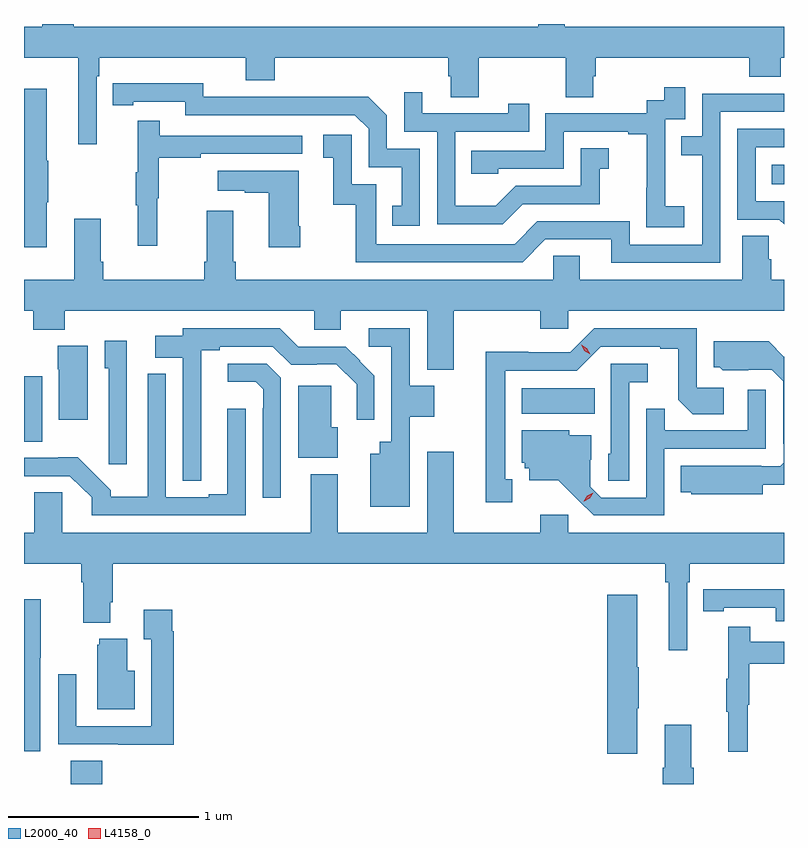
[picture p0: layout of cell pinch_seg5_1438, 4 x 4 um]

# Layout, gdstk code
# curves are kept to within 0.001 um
import gdstk
lib = gdstk.Library(unit=1e-6, precision=1e-09)
def R(c, l, rs):  # rectangles x0, y0, x1, y1
    for r in rs: c.add(gdstk.rectangle(r[:2], r[2:], *l))
def P(c, l, *ps):  # polygons
    for p in ps: c.add(gdstk.Polygon(p, *l))
L2000_40 = (2000, 40)
L4158_0 = (4158, 0)

pinch_seg5_1438 = lib.new_cell('pinch_seg5_1438')
R(pinch_seg5_1438, L2000_40, [(134.999,880.91,135.164,881.033), (134.752,882.712,134.848,883.057), (137.372,882.86,137.756,882.994), (138.688,884.066,138.752,884.17)])
P(pinch_seg5_1438, L2000_40, [(135.014,884.91),(134.849,884.91),(134.849,884.896),(134.752,884.896),(134.752,884.732),(135.038,884.732),(135.038,884.277),(135.135,884.277),(135.135,884.636),(135.149,884.636),(135.149,884.732),(135.92,884.732),(135.92,884.615),(136.073,884.615),(136.073,884.732),(136.985,884.732),(136.985,884.634),(136.997,884.634),(136.997,884.524),(137.145,884.524),(137.145,884.732),(137.602,884.732),(137.602,884.524),(137.749,884.524),(137.749,884.634),(137.762,884.634),(137.762,884.732),(138.569,884.732),(138.569,884.633),(138.734,884.633),(138.734,884.732),(138.752,884.732),(138.752,884.896),(137.598,884.896),(137.598,884.91),(137.459,884.91),(137.459,884.896),(135.014,884.896)],
  [(136.836,884.253),(136.662,884.253),(136.662,884.43),(136.564,884.528),(136.156,884.528),(136.156,884.526),(135.696,884.526),(135.696,884.599),(135.22,884.598),(135.22,884.482),(135.328,884.482),(135.328,884.502),(135.6,884.502),(135.6,884.43),(136.494,884.43),(136.566,884.358),(136.566,884.157),(136.739,884.157),(136.739,883.953),(136.69,883.953),(136.69,883.848),(136.836,883.848)],
  [(138.226,883.951),(138.128,883.951),(138.128,884.18),(138.126,884.18),(138.126,884.409),(138.231,884.409),(138.231,884.578),(138.123,884.578),(138.123,884.508),(138.03,884.508),(138.03,884.439),(137.496,884.439),(137.496,884.244),(137.107,884.244),(137.107,884.121),(137.247,884.121),(137.247,884.148),(137.592,884.148),(137.592,884.343),(137.933,884.343),(137.933,884.331),(138.029,884.331),(138.029,884.047),(138.028,884.047),(138.028,883.841),(138.226,883.841)],
  [(134.872,883.972),(134.88,883.972),(134.88,884.189),(134.872,884.189),(134.872,884.569),(134.752,884.569),(134.752,883.734),(134.872,883.734)],
  [(137.377,883.962),(137.781,883.962),(137.781,884.147),(137.83,884.147),(137.83,884.257),(137.682,884.257),(137.682,884.058),(137.34,884.058),(137.236,883.954),(137.022,883.954),(137.022,884.343),(137.411,884.343),(137.411,884.491),(137.3,884.491),(137.3,884.439),(136.849,884.439),(136.849,884.551),(136.752,884.551),(136.752,884.343),(136.926,884.343),(136.926,883.857),(137.272,883.857)],
  [(138.417,884.448),(138.752,884.448),(138.752,884.544),(138.321,884.544),(138.321,884.319),(138.211,884.319),(138.211,884.218),(138.321,884.218),(138.321,883.749),(137.94,883.749),(137.94,883.872),(137.454,883.872),(137.334,883.752),(136.605,883.752),(136.605,884.067),(136.476,884.067),(136.476,884.326),(136.326,884.326),(136.326,884.205),(136.379,884.205),(136.379,883.959),(136.497,883.959),(136.497,883.656),(137.376,883.656),(137.496,883.776),(137.843,883.776),(137.843,883.653),(138.417,883.653)],
  [(135.452,883.992),(135.46,883.992),(135.46,884.206),(135.683,884.206),(135.683,884.226),(136.216,884.226),(136.216,884.322),(135.467,884.322),(135.467,884.401),(135.35,884.401),(135.35,884.129),(135.339,884.129),(135.339,883.955),(135.35,883.955),(135.35,883.743),(135.452,883.743)],
  [(138.752,883.977),(138.603,883.977),(138.603,884.262),(138.752,884.262),(138.752,884.358),(138.507,884.358),(138.507,883.881),(138.726,883.881),(138.752,883.855)],
  [(136.206,883.846),(136.198,883.846),(136.198,884.137),(135.771,884.137),(135.771,884.033),(135.914,884.033),(135.914,884.023),(136.04,884.023),(136.04,883.734),(136.206,883.734)],
  [(138.752,883.564),(138.686,883.564),(138.686,883.673),(138.672,883.673),(138.672,883.796),(138.533,883.796),(138.533,883.564),(137.677,883.564),(137.677,883.691),(137.538,883.691),(137.538,883.564),(135.866,883.564),(135.866,883.66),(135.853,883.66),(135.853,883.927),(135.713,883.927),(135.713,883.66),(135.701,883.66),(135.701,883.564),(135.17,883.564),(135.17,883.66),(135.157,883.66),(135.157,883.885),(135.017,883.885),(135.017,883.564),(134.752,883.564),(134.752,883.4),(134.801,883.4),(134.801,883.301),(134.966,883.301),(134.966,883.4),(136.28,883.4),(136.28,883.301),(136.42,883.301),(136.42,883.4),(136.874,883.4),(136.874,883.091),(137.014,883.091),(137.014,883.4),(137.47,883.4),(137.47,883.307),(137.616,883.307),(137.616,883.4),(138.752,883.4)],
  [(136.783,882.842),(136.912,882.842),(136.912,883.006),(136.782,883.006),(136.782,883.308),(136.566,883.308),(136.566,883.212),(136.686,883.212),(136.686,882.712),(136.625,882.712),(136.625,882.649),(136.574,882.649),(136.574,882.368),(136.783,882.368)],
  [(137.323,882.513),(137.284,882.513),(137.284,883.086),(137.661,883.086),(137.787,883.212),(138.101,883.212),(138.101,883.2),(138.195,883.2),(138.195,882.932),(138.271,882.856),(138.436,882.856),(138.436,882.996),(138.294,882.996),(138.294,883.308),(137.754,883.308),(137.628,883.182),(137.406,883.182),(137.406,883.184),(137.181,883.184),(137.181,882.745),(137.183,882.745),(137.183,882.393),(137.323,882.393)],
  [(135.684,882.613),(135.685,883.192),(135.781,883.192),(135.781,883.212),(136.062,883.212),(136.158,883.116),(136.294,883.116),(136.294,883.118),(136.396,883.118),(136.502,883.013),(136.502,882.828),(136.596,882.828),(136.596,883.06),(136.446,883.212),(136.195,883.212),(136.099,883.308),(135.588,883.308),(135.588,883.27),(135.444,883.27),(135.444,883.154),(135.588,883.154),(135.588,882.505),(135.684,882.505)],
  [(135.294,883.243),(135.176,883.243),(135.176,883.098),(135.198,883.098),(135.198,882.594),(135.294,882.594)],
  [(138.64,882.485),(138.752,882.485),(138.752,883.158),(138.671,883.24),(138.383,883.24),(138.383,883.104),(138.414,883.104),(138.43,883.088),(138.687,883.089),(138.747,883.029),(138.747,882.7),(138.75,882.7),(138.75,882.6),(138.732,882.582),(138.632,882.582),(138.632,882.586),(138.208,882.586),(138.208,882.446),(138.264,882.446),(138.264,882.434),(138.64,882.434)],
  [(135.088,883.216),(134.93,883.216),(134.93,883.092),(134.936,883.092),(134.936,882.828),(135.088,882.828)],
  [(137.937,883.025),(138.034,883.025),(138.034,883.122),(137.841,883.122),(137.841,882.648),(137.826,882.648),(137.826,882.505),(137.937,882.505)],
  [(136.104,883.047),(136.029,883.122),(135.825,883.122),(135.825,883.028),(135.971,883.028),(136.011,882.987),(136.011,882.887),(136.008,882.887),(136.008,882.417),(136.104,882.417)],
  [(135.918,882.886),(135.821,882.886),(135.821,882.435),(135.725,882.435),(135.725,882.42),(135.498,882.42),(135.498,883.069),(135.402,883.069),(135.402,882.421),(135.208,882.421),(135.208,882.455),(135.034,882.629),(134.933,882.629),(134.933,882.627),(134.752,882.627),(134.752,882.531),(134.994,882.531),(135.108,882.418),(135.108,882.324),(135.918,882.324)],
  [(136.402,882.787),(136.369,882.787),(136.369,883.005),(136.196,883.005),(136.196,882.626),(136.402,882.626)],
  [(138.123,882.675),(138.657,882.675),(138.657,882.985),(138.561,882.985),(138.561,882.771),(138.125,882.771),(138.125,882.884),(138.027,882.884),(138.027,882.417),(137.79,882.417),(137.733,882.474),(137.733,882.616),(137.737,882.616),(137.737,882.745),(137.622,882.745),(137.622,882.772),(137.372,882.772),(137.372,882.6),(137.388,882.6),(137.388,882.573),(137.411,882.573),(137.411,882.509),(137.563,882.509),(137.75,882.324),(138.123,882.324)],
  [(138.243,881.972),(138.257,881.972),(138.257,882.068),(138.752,882.068),(138.752,882.232),(137.616,882.232),(137.616,882.328),(137.47,882.328),(137.47,882.232),(137.014,882.232),(137.014,882.658),(136.874,882.658),(136.874,882.232),(136.402,882.232),(136.402,882.541),(136.262,882.541),(136.262,882.232),(134.952,882.232),(134.952,882.446),(134.806,882.446),(134.806,882.232),(134.752,882.232),(134.752,882.068),(135.053,882.068),(135.053,881.972),(135.065,881.972),(135.065,881.759),(135.205,881.759),(135.205,881.866),(135.218,881.866),(135.218,882.068),(138.127,882.068),(138.127,881.972),(138.146,881.972),(138.146,881.613),(138.243,881.613)],
  [(138.752,881.935),(138.436,881.935),(138.436,881.934),(138.328,881.934),(138.328,881.818),(138.436,881.818),(138.436,881.838),(138.708,881.838),(138.708,881.766),(138.752,881.766)],
  [(137.98,881.308),(137.988,881.308),(137.988,881.525),(137.98,881.525),(137.98,881.905),(137.822,881.905),(137.822,881.07),(137.98,881.07)],
  [(134.838,881.575),(134.841,881.575),(134.841,881.882),(134.752,881.882),(134.752,881.082),(134.838,881.082)],
  [(135.539,881.714),(135.532,881.714),(135.532,881.827),(135.383,881.827),(135.383,881.671),(135.423,881.671),(135.423,881.214),(135.027,881.214),(135.027,881.488),(134.931,881.488),(134.931,881.118),(135.247,881.118),(135.247,881.117),(135.539,881.117)],
  [(138.56,881.328),(138.568,881.328),(138.568,881.542),(138.752,881.542),(138.752,881.658),(138.575,881.658),(138.575,881.737),(138.458,881.737),(138.458,881.465),(138.447,881.465),(138.447,881.291),(138.458,881.291),(138.458,881.079),(138.56,881.079)],
  [(135.334,881.506),(135.295,881.506),(135.295,881.674),(135.149,881.674),(135.149,881.643),(135.137,881.643),(135.137,881.303),(135.334,881.303)],
  [(138.278,880.996),(138.265,880.996),(138.265,881.221),(138.125,881.221),(138.125,880.996),(138.113,880.996),(138.113,880.91),(138.278,880.91)])
P(pinch_seg5_1438, L4158_0, [(137.732,883.171),(137.701,883.19),(137.684,883.223),(137.684,883.223),(137.684,883.223),(137.715,883.204),(137.733,883.171),(137.733,883.171)],
  [(137.699,882.398),(137.699,882.398),(137.717,882.428),(137.748,882.443),(137.748,882.443),(137.748,882.443),(137.73,882.413),(137.7,882.398)])

lib.write_gds('pinch_seg5_1438.gds')
